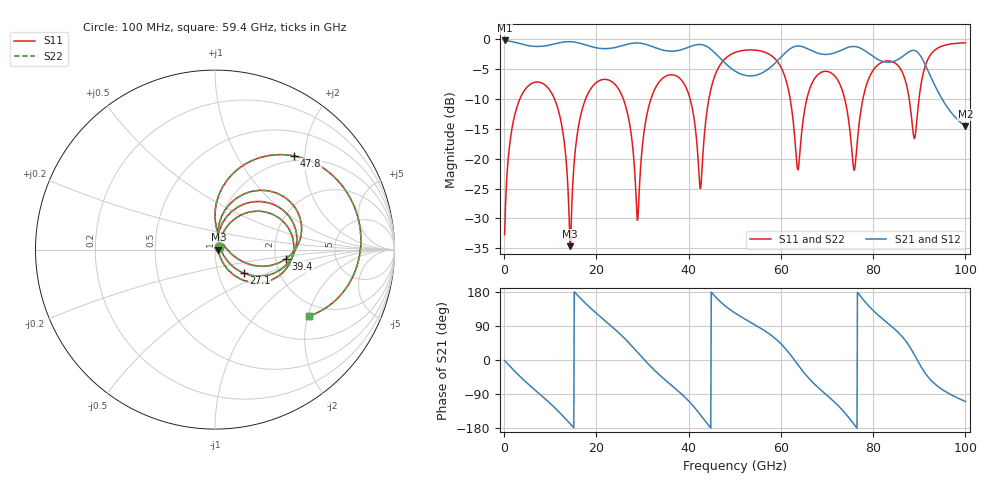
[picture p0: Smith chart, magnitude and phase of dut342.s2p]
! Touchstone file exported from HFSS 2026.1.0
!  File:  C:/ffzhzh/LocalFiles/Ansys_Project_Files/temp_train_TSV_RDL_342_1783706554_44652.aedt
!  Generated:  02:11:31 AM Jul 11, 2026
!  Design:  TSV_RDL
!  Project:  temp_train_TSV_RDL_342_1783706554_44652
! Variables:
!  h_bsmrdl = 3.02um
!  h_ox = 20um
!  h_rdl = 5um
!  h_sub = 84.82um
!  h_tmrdl = 2.76um
!  h_tsv = 84.82um
!  h_via = 3um
!  l_bsmrdl = 342.16um
!  l_sub = 3747.11um
!  l_tmrdl = 547um
!  m_sub = 200um
!  pitch = 46.47um
!  r_tsv = 12.48um
!  s_tmrdl = 10um
!  w_bsmrdl = 23.48um
!  w_sub = 500um
!  w_tmrdl = 20.73um
!  x_tsv_center1 = 557.365um
!  x_tsv_center2 = 923.005um
!  x_tsv_center3 = 1490.735um
!  x_tsv_center4 = 1856.375um
!  x_tsv_center5 = 2424.105um
!  x_tsv_center6 = 2789.745um
# GHz S MA R 50.000000
! Terminal data exported
! Port[1] = TM_RDL1_1_T1
! Port[2] = TM_RDL5_1_T1
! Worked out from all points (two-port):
!   1000 points, 100 MHz to 100 GHz, reference 50 ohm
!   highest |S21| = -0.17 dB at 100 MHz (marker M1); lowest = -14.5 dB at 100 GHz (marker M2)
!   |S21| within 3 dB of the highest: start of sweep to 46.86 GHz; 59.77 GHz to 80.61 GHz (20.85 GHz wide, 29.7 % of centre) (the widest 2 of 3)
!   lowest |S11| = -34.7 dB at 14.3 GHz (marker M3), VSWR 1.04, Z = 51.9 - j0.0336 ohm
!   |S11| at or under -10 dB: 10.93 GHz to 17.65 GHz (6.726 GHz wide, 47.1 % of centre); 25.85 GHz to 31.81 GHz (5.968 GHz wide, 20.7 % of centre); 40.33 GHz to 44.38 GHz (4.056 GHz wide, 9.58 % of centre) (the widest 3 of 7)
!   |S22| runs from -35.4 to -0.6 dB; largest |S21 - S12| = 1.1e-11
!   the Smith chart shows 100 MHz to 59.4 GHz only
!   S11 on the Smith chart (normalised r, x): 100 MHz: 1.04, +0.02; 27.1 GHz: 1.32, -0.36; 39.4 GHz: 2.28, -0.28; 47.8 GHz: 0.91, +1.78; 59.4 GHz: 1.61, -2.02
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0.1  0.02308 30.5  0.9803 -1.4  0.9803 -1.4  0.02308 30.5
! Gamma 0 0 0 0
! Port Impedance 50 0 50 0
2.3  0.2332 54.0  0.9468 -29.8  0.9468 -29.8  0.2332 53.9
7.2  0.4397 3.3  0.8728 -84.5  0.8728 -84.5  0.4397 3.3
12  0.2341 -46.9  0.9379 -138.5  0.9379 -138.5  0.234 -47.2
14.3  0.01851 -1.0  0.9575 -168.2  0.9575 -168.2  0.01706 -2.2
16.8  0.2489 64.1  0.9204 159.6  0.9204 159.6  0.2487 64.5
27.1  0.2061 -39.4  0.9186 44.5  0.9186 44.5  0.2062 -39.2
29  0.03198 35.6  0.9339 19.2  0.9339 19.2  0.03283 35.0
33.4  0.4287 50.3  0.8361 -36.3  0.8361 -36.3  0.4287 50.2
39.4  0.3984 -7.4  0.8443 -100.7  0.8443 -100.7  0.3982 -7.5
42.6  0.05647 41.2  0.9071 -145.4  0.9071 -145.4  0.05522 41.4
47.8  0.683 49.8  0.6385 144.0  0.6385 144.0  0.6829 49.9
50.1  0.7783 31.2  0.5417 123.6  0.5417 123.6  0.7782 31.3
59.4  0.64 -35.4  0.6711 49.9  0.6711 49.9  0.6399 -35.4
63.7  0.08069 -9.1  0.8813 -12.9  0.8813 -12.9  0.08153 -9.0
66.7  0.426 26.8  0.8037 -56.6  0.8037 -56.6  0.4263 26.8
72.4  0.451 -25.7  0.7913 -120.2  0.7913 -120.2  0.4512 -25.7
76  0.08202 18.7  0.8724 -171.9  0.8724 -171.9  0.08246 18.5
83.4  0.6606 4.7  0.6432 94.9  0.6432 94.9  0.6606 4.7
89.3  0.179 36.5  0.7984 6.0  0.7984 6.0  0.1814 36.0
92  0.6977 32.5  0.5358 -46.0  0.5358 -46.0  0.6981 32.3
100  0.9365 -22.0  0.1877 -109.6  0.1877 -109.6  0.9366 -22.0
